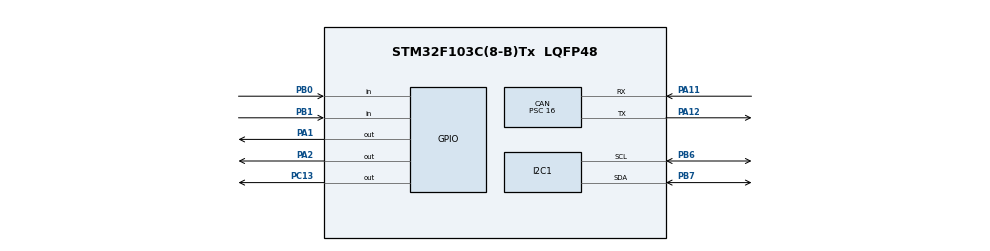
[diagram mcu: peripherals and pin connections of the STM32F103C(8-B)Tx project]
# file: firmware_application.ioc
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CAN.BS1=CAN_BS1_2TQ
CAN.BS2=CAN_BS2_2TQ
CAN.CalculateBaudRate=100000
CAN.CalculateTimeBit=10000
CAN.CalculateTimeQuantum=2000.0
CAN.NART=ENABLE
CAN.Prescaler=16
I2C1.I2C_Mode=I2C_Fast
Mcu.Family=STM32F1
Mcu.Name=STM32F103C(8-B)Tx
Mcu.Package=LQFP48
NVIC.PriorityGroup=NVIC_PRIORITYGROUP_4
NVIC.USB_LP_CAN1_RX0_IRQn=true\:0\:0\:false\:false\:true\:true\:true\:true
PA1.Signal=GPIO_Output
PA11.Mode=CAN_Activate
PA11.Signal=CAN_RX
PA12.Mode=CAN_Activate
PA12.Signal=CAN_TX
PA13.Mode=Serial_Wire
PA13.Signal=SYS_JTMS-SWDIO
PA14.Mode=Serial_Wire
PA14.Signal=SYS_JTCK-SWCLK
PA2.Signal=GPIO_Output
PB0.GPIO_PuPd=GPIO_NOPULL
PB0.Signal=GPIO_Input
PB1.Signal=GPIO_Input
PB6.Mode=I2C
PB6.Signal=I2C1_SCL
PB7.Mode=I2C
PB7.Signal=I2C1_SDA
PC13-TAMPER-RTC.Signal=GPIO_Output
PD0-OSC_IN.Mode=HSE-External-Oscillator
PD0-OSC_IN.Signal=RCC_OSC_IN
PD1-OSC_OUT.Mode=HSE-External-Oscillator
PD1-OSC_OUT.Signal=RCC_OSC_OUT
ProjectManager.HeapSize=0x200
ProjectManager.StackSize=0x400
ProjectManager.TargetToolchain=STM32CubeIDE
RCC.APB1Freq_Value=8000000
RCC.APB2Freq_Value=8000000
RCC.SYSCLKSource=RCC_SYSCLKSOURCE_HSE
board=custom

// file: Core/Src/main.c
/* USER CODE BEGIN Header */
/**
  ******************************************************************************
  * @file           : main.c
  * @brief          : Main program body
  ******************************************************************************
  * @attention
  *
  * Copyright (c) 2023 STMicroelectronics.
  * All rights reserved.
  *
  * This software is licensed under terms that can be found in the LICENSE file
  * in the root directory of this software component.
  * If no LICENSE file comes with this software, it is provided AS-IS.
  *
  ******************************************************************************
  */
/* USER CODE END Header */
#include "main.h"

/* USER CODE BEGIN Includes */

#include <stdio.h>
#include <string.h>
#include "std.h"
#include "FLASH_PAGE_F1.h"

#include "fonts.h"
#include "ssd1306.h"
#include "bitmap.h"
#include "test.h"
#include "horse_anim.h"

/* USER CODE END Includes */

/* USER CODE BEGIN PTD */

typedef enum
{
	APP_STATE_NORMAL 	=	 0		,
	APP_STATE_CHECK_FOR_UPDATES		,
	APP_STATE_NO_UPDATE_AV			,
	APP_STATE_GET_UPDATE_SIZE		,
	APP_STATE_GET_UPDATE_SIZE_AGAIN	,
	APP_STATE_INVALID_UPDATE_SIZE	,
	APP_STATE_START_UPDATE			,
	APP_STATE_RECEIVING_UPDATE		,
	APP_STATE_UPDATE_RECEIVED		,
	APP_STATE_FLASHING				,
	APP_STATE_TOTAL
}en_app_state_t;

/* USER CODE END PTD */

CAN_HandleTypeDef hcan;

I2C_HandleTypeDef hi2c1;

/* USER CODE BEGIN PV */

/* Flag indicating whether a new app version is installed and ready to be switched to or not */
static BOOLEAN bool_gs_new_version_available = FALSE;
/* application current state */
static en_app_state_t en_gs_app_state = APP_STATE_NORMAL;

CAN_TxHeaderTypeDef TxHeader; //structure for transmitting messages
CAN_RxHeaderTypeDef RxHeader; //structure for message reception
CAN_FilterTypeDef FilterConfig; //declare CAN filter structure

uint32_t TxMailbox;

/* Converter union for RxData */
union
{
	uint8_t RxData[APP_RX_DATA_LENGTH];	// Receive buffer
	uint32_t u32_Rx_Number;
}un_gs_RxConv;

uint8_t TxData[APP_TX_DATA_LENGTH];	// Transmit buffer
uint8_t button_pressed;

uint8_t update_data_arr[APP_UPDATE_MAX_SIZE_BYTES] = {ZERO};

/* Counter to keep track of amount of update data received */
STATIC uint32_t u32_gs_rec_count = ZERO;

/* Holder for update size to be received */
STATIC uint32_t u32_gs_update_size = ZERO;

/* USER CODE END PV */

void SystemClock_Config(void);
static void MX_GPIO_Init(void);
static void MX_CAN_Init(void);
static void MX_I2C1_Init(void);
/* USER CODE BEGIN PFP */

static void app_switch_state(en_app_state_t en_a_app_new_state);
static void app_fill_array_with_str(uint8_t * u8ptr_array, uint8_t * u8ptr_a_str);
static void app_tx_over_can(uint8_t * msg);
static void app_write_on_screen(uint8_t * string, uint8_t Col, uint8_t Row, boolean clearScreen);

/* USER CODE END PFP */

/* USER CODE BEGIN 0 */

void HAL_CAN_RxFifo0MsgPendingCallback(CAN_HandleTypeDef *hcan)
{
	/* loop counter for received update data */
	int i = ZERO;

	/* Read Message into local buffer [RxData] */
	HAL_CAN_GetRxMessage(hcan, CAN_RX_FIFO0, &RxHeader, un_gs_RxConv.RxData);

	// Toggle Receive LED indicator
	HAL_GPIO_TogglePin(APP_LED_RX_CAN_ARGS);

	/* Switch over APP states to take appropriate actions */
	switch(en_gs_app_state)
	{
		case APP_STATE_NORMAL:
		{
		 /* Do Nothing */
		 break;
		}
		case APP_STATE_CHECK_FOR_UPDATES:
		{
			/* Check for response */
			if(ZERO == strcmp((char *)un_gs_RxConv.RxData, (char *)APP_CAN_RESP_OK_UPDATE))
			{
				/* Update Available - Request update size */
                app_switch_state(APP_STATE_GET_UPDATE_SIZE);
			}
			else if(ZERO == strcmp((char *)un_gs_RxConv.RxData, (char *)APP_CAN_RESP_NO_UPDATE))
			{
				/* No Updates - Cancel */
                app_switch_state(APP_STATE_NO_UPDATE_AV);
            }
			else
			{
				/* Drop */
			}
			break;
		}
		case APP_STATE_GET_UPDATE_SIZE:
		{
			/* Store size */
			u32_gs_update_size = un_gs_RxConv.u32_Rx_Number;

			/* Fetch again */
            app_switch_state(APP_STATE_GET_UPDATE_SIZE_AGAIN);
			break;
		}
		case APP_STATE_GET_UPDATE_SIZE_AGAIN:
		{
			/* Verify size */
			if(
					(u32_gs_update_size == un_gs_RxConv.u32_Rx_Number) &&
					(u32_gs_update_size < APP_UPDATE_MAX_SIZE_BYTES)
			)
			{
				/* Sizes Matches and Valid - Proceed with update */
                app_switch_state(APP_STATE_START_UPDATE);
			}
			else
			{
				/* Fail */
                app_switch_state(APP_STATE_INVALID_UPDATE_SIZE);
			}

			break;
		}
		case APP_STATE_RECEIVING_UPDATE:
		{
			/* Parse and Store Update Bytes */

			  for(i = 0; i < APP_RX_DATA_LENGTH; i++)
			  {
				  update_data_arr[i + u32_gs_rec_count] = un_gs_RxConv.RxData[i];
			  }

			  u32_gs_rec_count += APP_RX_DATA_LENGTH;

			  // Check if total received count is correct
			  if(u32_gs_rec_count >= u32_gs_update_size)
			  {
				  /* Update APP state */
                  app_switch_state(APP_STATE_UPDATE_RECEIVED);
			  }
			  else
			  {
				  /* Do Nothing */
			  }

		  break;
		}
        case APP_STATE_NO_UPDATE_AV:
        {
            /* Do Nothing */
            break;
        }
        case APP_STATE_INVALID_UPDATE_SIZE:
        {
            /* Do Nothing */
            break;
        }
        case APP_STATE_START_UPDATE:
        {
            /* Do Nothing */
            break;
        }
        case APP_STATE_UPDATE_RECEIVED:
        {
            /* Do Nothing */
            break;
        }
        case APP_STATE_FLASHING:
        {
            /* Do Nothing */
            break;
        }
        case APP_STATE_TOTAL:
        {
            /* Do Nothing */
            break;
        }
        default:
		{
		  /* Do Nothing */
		  break;
		}

    }
}

/* USER CODE END 0 */

int main(void)
{
  /* USER CODE BEGIN 1 */
	/* Update-Btn State, GPIO_PIN_SET: not pressed, GPIO_PIN_RESET: pressed */
	GPIO_PinState GPIO_Loc_UpdateBtnState;
	GPIO_PinState GPIO_Loc_ResetBtnState;

  /* USER CODE END 1 */

  /* MCU Configuration--------------------------------------------------------*/

  /* Reset of all peripherals, Initializes the Flash interface and the Systick. */
  HAL_Init();

  /* USER CODE BEGIN Init */
	GPIO_Loc_UpdateBtnState = GPIO_PIN_SET;
	GPIO_Loc_ResetBtnState = GPIO_PIN_SET;

  /* USER CODE END Init */

  /* Configure the system clock */
  SystemClock_Config();

  /* Initialize all configured peripherals */
  MX_GPIO_Init();
  MX_CAN_Init();
  MX_I2C1_Init();
  /* USER CODE BEGIN 2 */

  SSD1306_Init (); // initialize the display

  SSD1306_Clear();

  /* Systick Config */
  /* Update SystemCoreClock variable according to Clock Register Values */
	SystemCoreClockUpdate();

	/* Generates interrupt every 2 seconds
	 * Handler inside stm32f1xx_it.c -> SysTick_Handler
	 * */
	SysTick_Config(SystemCoreClock*2);

	SysTick->CTRL = 0;
	SysTick->VAL = 0;
	SysTick->CTRL =
	  (
			  SysTick_CTRL_TICKINT_Msk
	  | SysTick_CTRL_ENABLE_Msk
	  | SysTick_CTRL_CLKSOURCE_Msk);

	/* Init CAN Tx Variables */
	TxData[0] = 0x00;

	TxHeader.DLC=1; //give message size of 1 byte
	TxHeader.IDE=CAN_ID_STD; //set identifier to standard
	TxHeader.RTR=CAN_RTR_DATA; //RTR bit is set to data
	TxHeader.TransmitGlobalTime = DISABLE;

   /* Configure CAN Receiving Filter */
   /* set FIFO assignment */
   FilterConfig.FilterFIFOAssignment = CAN_FILTER_FIFO0;
   /* 0x245<<5; the ID that the filter looks for: Zero to pass all IDs */
   FilterConfig.FilterIdHigh = 0;
   FilterConfig.FilterIdLow = 0;
   FilterConfig.FilterMaskIdHigh = 0;
   FilterConfig.FilterMaskIdLow = 0;

   /* Set Filter Scale */
   FilterConfig.FilterScale = CAN_FILTERSCALE_32BIT; //set filter scale

   /* Enable Filter */
   FilterConfig.FilterActivation = ENABLE;

   /* Configure CAN Filter */
   HAL_CAN_ConfigFilter(&hcan, &FilterConfig); //configure CAN filter

   /* Start CAN */
   HAL_CAN_Start(&hcan);

   /* Enable Rx FIFO0 Interrupt */
   HAL_CAN_ActivateNotification(&hcan, CAN_IT_RX_FIFO0_MSG_PENDING);

    /* Switch app state to normal */
    app_switch_state(APP_STATE_NORMAL);

  /* USER CODE END 2 */

  /* Infinite loop */
  /* USER CODE BEGIN WHILE */
  while (1)
  {

	  /* switch on current app state */
	  switch(en_gs_app_state)
	  {
		  case APP_STATE_NORMAL:
		  {

			  /* Check if update button is pressed */
			  GPIO_Loc_UpdateBtnState = HAL_GPIO_ReadPin(APP_UPDATE_BTN_ARGS);
			  GPIO_Loc_ResetBtnState = HAL_GPIO_ReadPin(APP_RESET_BTN_ARGS);

			  if(GPIO_PIN_RESET == GPIO_Loc_ResetBtnState)
			  {
				  /* Clear Screen */
                  SSD1306_Clear();

                  /* Reset system - bootloader will handle the switching */
                  NVIC_SystemReset();
			  }
			  else if(GPIO_PIN_RESET == GPIO_Loc_UpdateBtnState)
			  {
				  /* Btn is pressed
				   * Check for updates */
                  app_switch_state(APP_STATE_CHECK_FOR_UPDATES);
			  }
			  else
			  {
				  /* Do Nothing */
			  }

			  break;
		  }
		  case APP_STATE_CHECK_FOR_UPDATES:
		  {
              /* Do Nothing */
              break;
		  }
		  case APP_STATE_GET_UPDATE_SIZE:
		  case APP_STATE_GET_UPDATE_SIZE_AGAIN:
		  {
              /* Do Nothing */
              break;
		  }
		  case APP_STATE_START_UPDATE:
		  {
              /* Do Nothing */
              break;
		  }
		  case APP_STATE_RECEIVING_UPDATE:
		  {
			  /* IDLE - Receiving Data */
			  break;
		  }
		  case APP_STATE_INVALID_UPDATE_SIZE:
		  {
              APP_OLED_CLEAR_WRITE(APP_OLED_INVALID_UPDATE_SIZE, 0, 0);
              HAL_Delay(APP_OLED_MSG_TIMEOUT_TICKS);
              /* Reset state back to normal */
              app_switch_state(APP_STATE_NORMAL);
              break;
		  }

		  case APP_STATE_NO_UPDATE_AV:
		  {
              APP_OLED_CLEAR_WRITE(APP_OLED_NO_UPDATES, 0, 0);
              HAL_Delay(APP_OLED_MSG_TIMEOUT_TICKS);
              /* Reset state back to normal */
              app_switch_state(APP_STATE_NORMAL);
              break;
		  }
		  case APP_STATE_UPDATE_RECEIVED:
		  {

			  /* Add Padding If needed */
			  uint8_t mod_result = MOD(u32_gs_update_size, APP_TX_DATA_LENGTH);

			  if(ZERO == mod_result)
			  {
				  /* No Padding Needed */
			  }
			  else
			  {
				  /* Add Padding */
				  uint8_t padding_count = APP_TX_DATA_LENGTH - mod_result;

				  /* Add 0xFF padding */
				  for (int var = 0; var < padding_count; ++var)
				  {
					  update_data_arr[u32_gs_rec_count + var] = BYTE_MAX_VAL;
				  }

				  /* Update size to be flashed */
				  u32_gs_update_size += padding_count;
			  }

              app_switch_state(APP_STATE_FLASHING);
			  break;
		  }
          case APP_STATE_FLASHING:
          {
              /* Flash Update
               * Division by two because we flash 16 bits (2-bytes) per write
               *  */
              Flash_Write_Data(APP_UPDATE_START_ADDRESS,
                               ((uint32_t *)update_data_arr), u32_gs_update_size / 2);

              /* Turn on status LED indicator to indicate flash is done */
              APP_UPDATE_STATUS_LED(GPIO_PIN_SET);

              APP_OLED_WRITE(APP_OLED_UPDATED_INSTALLED, 0, 4);

              HAL_Delay(APP_OLED_MSG_TIMEOUT_TICKS);

              app_switch_state(APP_STATE_NORMAL);
              break;
          }
          case APP_STATE_TOTAL:
          {
              /* Do Nothing */
              break;
          }
		  default:
		  {
			  /* Do Nothing */
			  break;
		  }

      }

    /* USER CODE END WHILE */

  }
}

void SystemClock_Config(void)
{
  RCC_OscInitTypeDef RCC_OscInitStruct = {0};
  RCC_ClkInitTypeDef RCC_ClkInitStruct = {0};

  /** Initializes the RCC Oscillators according to the specified parameters
  * in the RCC_OscInitTypeDef structure.
  */
  RCC_OscInitStruct.OscillatorType = RCC_OSCILLATORTYPE_HSE;
  RCC_OscInitStruct.HSEState = RCC_HSE_ON;
  RCC_OscInitStruct.PLL.PLLState = RCC_PLL_NONE;
  if (HAL_RCC_OscConfig(&RCC_OscInitStruct) != HAL_OK)
  {
    Error_Handler();
  }

  /** Initializes the CPU, AHB and APB buses clocks
  */
  RCC_ClkInitStruct.ClockType = RCC_CLOCKTYPE_HCLK|RCC_CLOCKTYPE_SYSCLK
                              |RCC_CLOCKTYPE_PCLK1|RCC_CLOCKTYPE_PCLK2;
  RCC_ClkInitStruct.SYSCLKSource = RCC_SYSCLKSOURCE_HSE;
  RCC_ClkInitStruct.AHBCLKDivider = RCC_SYSCLK_DIV1;
  RCC_ClkInitStruct.APB1CLKDivider = RCC_HCLK_DIV1;
  RCC_ClkInitStruct.APB2CLKDivider = RCC_HCLK_DIV1;

  if (HAL_RCC_ClockConfig(&RCC_ClkInitStruct, FLASH_LATENCY_0) != HAL_OK)
  {
    Error_Handler();
  }
}

static void MX_CAN_Init(void)
{

  hcan.Instance = CAN1;
  hcan.Init.Prescaler = 16;
  hcan.Init.Mode = CAN_MODE_NORMAL;
  hcan.Init.SyncJumpWidth = CAN_SJW_1TQ;
  hcan.Init.TimeSeg1 = CAN_BS1_2TQ;
  hcan.Init.TimeSeg2 = CAN_BS2_2TQ;
  hcan.Init.TimeTriggeredMode = DISABLE;
  hcan.Init.AutoBusOff = DISABLE;
  hcan.Init.AutoWakeUp = DISABLE;
  hcan.Init.AutoRetransmission = ENABLE;
  hcan.Init.ReceiveFifoLocked = DISABLE;
  hcan.Init.TransmitFifoPriority = ENABLE;
  if (HAL_CAN_Init(&hcan) != HAL_OK)
  {
    Error_Handler();
  }

}

static void MX_I2C1_Init(void)
{

  hi2c1.Instance = I2C1;
  hi2c1.Init.ClockSpeed = 400000;
  hi2c1.Init.DutyCycle = I2C_DUTYCYCLE_2;
  hi2c1.Init.OwnAddress1 = 0;
  hi2c1.Init.AddressingMode = I2C_ADDRESSINGMODE_7BIT;
  hi2c1.Init.DualAddressMode = I2C_DUALADDRESS_DISABLE;
  hi2c1.Init.OwnAddress2 = 0;
  hi2c1.Init.GeneralCallMode = I2C_GENERALCALL_DISABLE;
  hi2c1.Init.NoStretchMode = I2C_NOSTRETCH_DISABLE;
  if (HAL_I2C_Init(&hi2c1) != HAL_OK)
  {
    Error_Handler();
  }

}

static void MX_GPIO_Init(void)
{
  GPIO_InitTypeDef GPIO_InitStruct = {0};

  /* GPIO Ports Clock Enable */
  __HAL_RCC_GPIOC_CLK_ENABLE();
  __HAL_RCC_GPIOD_CLK_ENABLE();
  __HAL_RCC_GPIOA_CLK_ENABLE();
  __HAL_RCC_GPIOB_CLK_ENABLE();

  /*Configure GPIO pin Output Level */
  HAL_GPIO_WritePin(GPIOC, GPIO_PIN_13, GPIO_PIN_RESET);

  /*Configure GPIO pin Output Level */
  HAL_GPIO_WritePin(GPIOA, GPIO_PIN_1|GPIO_PIN_2, GPIO_PIN_RESET);

  /*Configure GPIO pin : PC13 */
  GPIO_InitStruct.Pin = GPIO_PIN_13;
  GPIO_InitStruct.Mode = GPIO_MODE_OUTPUT_PP;
  GPIO_InitStruct.Pull = GPIO_NOPULL;
  GPIO_InitStruct.Speed = GPIO_SPEED_FREQ_LOW;
  HAL_GPIO_Init(GPIOC, &GPIO_InitStruct);

  /*Configure GPIO pins : PA1 PA2 */
  GPIO_InitStruct.Pin = GPIO_PIN_1|GPIO_PIN_2;
  GPIO_InitStruct.Mode = GPIO_MODE_OUTPUT_PP;
  GPIO_InitStruct.Pull = GPIO_NOPULL;
  GPIO_InitStruct.Speed = GPIO_SPEED_FREQ_LOW;
  HAL_GPIO_Init(GPIOA, &GPIO_InitStruct);

  /*Configure GPIO pins : PB0 PB1 */
  GPIO_InitStruct.Pin = GPIO_PIN_0|GPIO_PIN_1;
  GPIO_InitStruct.Mode = GPIO_MODE_INPUT;
  GPIO_InitStruct.Pull = GPIO_NOPULL;
  HAL_GPIO_Init(GPIOB, &GPIO_InitStruct);

}

/* USER CODE BEGIN 4 */

static void app_switch_state(en_app_state_t en_a_app_new_state)
{
    switch(en_a_app_new_state)
    {
        case APP_STATE_NORMAL:
        {
            /* Print welcome message */
            APP_PRINT_MAIN_WELCOME_SCREEN();

            /* Check for new version installation to switch to */
            /* Buffer for flash data */
            uint32_t dataBuffer[1] = {0};

            /* Read flash data at new version installation address */
            Flash_Read_Data(APP_UPDATE_START_ADDRESS, dataBuffer, 0);

            /* Check if there's actually new version installed in that address */
            if(dataBuffer[0] != UINT32_MAX_VAL)
            {
                /* New Version Available */
                APP_PRINT_NEW_VERSION_AVAILABLE();

                /* Update Global Flag */
                bool_gs_new_version_available = TRUE;
            }
            else
            {
                /* Update Global Flag */
                bool_gs_new_version_available = FALSE;
            }

            break;
        }
        case APP_STATE_CHECK_FOR_UPDATES:
        {
            /* Update OLED */
            APP_PRINT_CHECKING_FOR_UPDATES();

            /* Send Check for Updates Command */
            app_tx_over_can(APP_CAN_CMD_CHECK_FOR_UPDATE);
            break;
        }
        case APP_STATE_GET_UPDATE_SIZE:
        {
            /* Send Get Update Size Command */
            app_tx_over_can(APP_CAN_CMD_GET_UPDATE_SIZE);

            /* Update OLED */
            APP_OLED_WRITE(APP_OLED_GETTING_UPDATE_SIZE, 0, 4);
            break;
        }
        case APP_STATE_GET_UPDATE_SIZE_AGAIN:
        {
            /* Send Get Update Size Command */
            app_tx_over_can(APP_CAN_CMD_GET_UPDATE_SIZE);

            /* Update OLED */
            APP_OLED_WRITE(APP_OLED_VERIFYING_UPDATE_SIZE, 0, 5);
            break;
        }
        case APP_STATE_START_UPDATE:
        {
            /* Update OLED */
            APP_OLED_CLEAR_WRITE(APP_OLED_STARTING_UPDATE, 0, 0);

            /* Immediately Switch to Receiving update state to prevent data loss */
            en_gs_app_state = APP_STATE_RECEIVING_UPDATE;
            en_a_app_new_state = APP_STATE_RECEIVING_UPDATE;

            /* Send Start Update Command */
            app_tx_over_can(APP_CAN_CMD_START_UPDATE);
            /*break;*/

            /* No Break to process the Receiving update section */
        }
        case APP_STATE_RECEIVING_UPDATE:
        {
            /* Update OLED */
            APP_OLED_WRITE(APP_OLED_UPDATE_IN_PROGRESS, 0, 1);
            break;
        }
        case APP_STATE_INVALID_UPDATE_SIZE:
        {
            /* Do Nothing */
            break;
        }

        case APP_STATE_NO_UPDATE_AV:
        {
            /* Do Nothing */
            break;
        }
        case APP_STATE_UPDATE_RECEIVED:
        {
            /* Update OLED */
            APP_OLED_WRITE(APP_OLED_UPDATED_DATA_PROCESS, 0, 2);
            break;
        }
        case APP_STATE_FLASHING:
        {
            /* Do Nothing */
            APP_OLED_WRITE(APP_OLED_UPDATED_INSTALLING, 0, 3);
            break;
        }
        case APP_STATE_TOTAL:
        {
            /* Do Nothing */
            break;
        }
        default:
        {
            /* Do Nothing */
            break;
        }

    }

    /* Update global app state */
    en_gs_app_state = en_a_app_new_state;

}

/* Custom Function to write on OLED Screen
 * According to Font 7x10 and Screen Size 128x64
 * Max Col, Rows are 17, 5 respectively
 * */
static void app_write_on_screen(uint8_t * string, uint8_t Col, uint8_t Row, boolean clearScreen)
{
	if((Col > 17) || (Row > 5))
	{
		/* Cancel */
	}
	else
	{
		if(TRUE == clearScreen)
		{
			SSD1306_Clear();
		}
		else
		{
			/* Do Nothing */
		}

	/* Goto Requested Position */
	  SSD1306_GotoXY (Col * 7, Row * 10);

	  /* Write String */
	  SSD1306_Puts ((char *) string, &Font_7x10, SSD1306_COLOR_WHITE);

	  /* Update Screen */
	  SSD1306_UpdateScreen(); //display

	}
}

/* Fills an array with APP_TX_DATA_LENGTH bytes with an APP_TX_DATA_LENGTH byte string */
static void app_fill_array_with_str(uint8_t * u8ptr_array, uint8_t * u8ptr_a_str)
{
	uint8_t var;

	if(
			(NULL_PTR != u8ptr_array) &&
			(NULL_PTR != u8ptr_a_str)
		)
	{
		for (var = 0; var < APP_TX_DATA_LENGTH; ++var)
		{
			u8ptr_array[var] = u8ptr_a_str[var];
		}
	}
	else
	{
		/* Cancel */
	}
}

static void app_tx_over_can(uint8_t * msg)
{
	/* CAN Mailbox free level */
	uint8_t mailbox_free_level;

	mailbox_free_level = HAL_CAN_GetTxMailboxesFreeLevel(&hcan);

	/* Block wait until there's a free mailbox */
	while(ZERO == mailbox_free_level)
	{
		/* Re-check mailbox free level */
		mailbox_free_level = HAL_CAN_GetTxMailboxesFreeLevel(&hcan);
	}

	TxHeader.StdId = APP_CAN_TX_MSG_ID;
	TxHeader.DLC = APP_TX_DATA_LENGTH;

	/* free space in mailbox */

	/* Fill CAN TxData buffer with CMD */
	app_fill_array_with_str(TxData, msg);

	/* Add Message to CAN Tx */
	HAL_CAN_AddTxMessage(&hcan, &TxHeader, TxData, &TxMailbox);

	/* Toggle TX LED indicator */
	HAL_GPIO_TogglePin(APP_LED_TX_CAN_ARGS);
}

/* USER CODE END 4 */

void Error_Handler(void)
{
  __disable_irq();
  while (1)
  {
  }
}
